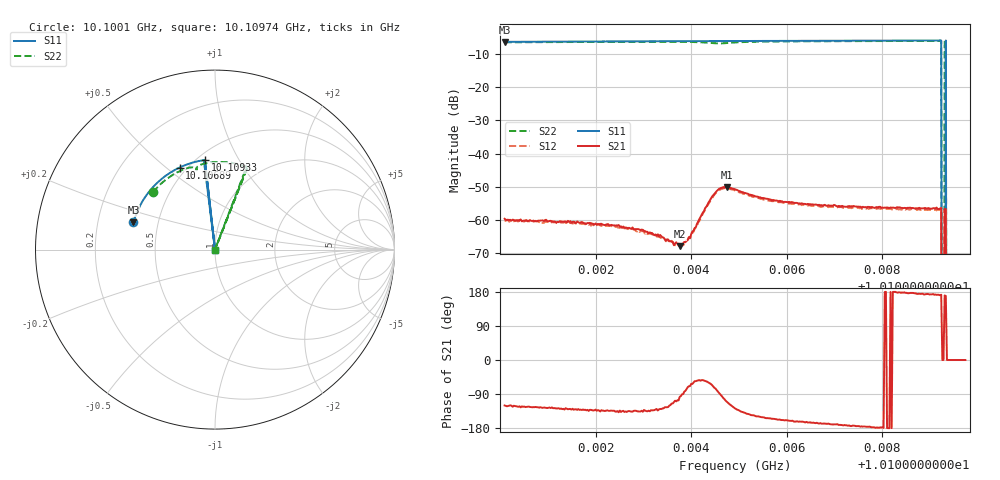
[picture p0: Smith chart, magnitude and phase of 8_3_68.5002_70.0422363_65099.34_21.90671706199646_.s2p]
#  HZ  S  RI  R  50.00
! Rohde & Schwarz Vector Network Analyzer
! Rohde-Schwarz,ZNB20-2Port,1311601062101988,3.16
! Created: UTC 3/20/2024, 5:04:04 PM
! freq[Hz]  re:S11  im:S11  re:S21  im:S21  re:S12  im:S12  re:S22  im:S22
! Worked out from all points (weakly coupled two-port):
!   401 points, 10.1001 GHz to 10.10974 GHz, reference 50 ohm
!   highest |S21| = -50.03 dB at 10.10475 GHz (marker M1); lowest = -67.9 dB at 10.10376 GHz (marker M2)
!   lowest |S11| = -6.4 dB at 10.1001 GHz (marker M3), VSWR 2.84, Z = 18 + j7.08 ohm
!   |S11| at or under -10 dB: 10.10923 GHz to 10.10933 GHz (95.37 kHz wide, 0.000943 % of centre); 10.10933 GHz to end of sweep
!   |S22| runs from - to -6.1 dB; largest |S21 - S12| = 0.00032
!   S11 on the Smith chart (normalised r, x): 10.1001 GHz: 0.36, +0.14; 10.10689 GHz: 0.46, +0.56; 10.10933 GHz: 0.55, +0.73; 10.10974 GHz: 1.00, +0.00
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1.0100099e10  -0.4542 0.1513  -0.000521 -0.000903  -0.000422 -0.000886  -0.3461 0.3201
1.0101713e10  -0.4187 0.2429  -0.000622 -0.000693  -0.000529 -0.000702  -0.2705 0.392
1.0103327e10  -0.3653 0.3249  -0.000367 -0.000434  -0.000317 -0.000461  -0.1783 0.4455
1.0103761e10  -0.3483 0.345  -5.16e-05 -0.0004  -4.16e-05 -0.000426  -0.149 0.4553
1.0104001e10  -0.3384 0.3557  0.000281 -0.000548  0.000318 -0.000513  -0.131 0.4585
1.0104483e10  -0.3173 0.376  0.000711 -0.00234  0.000915 -0.0022  -0.1003 0.4457
1.0104748e10  -0.3056 0.3867  -0.00111 -0.00295  -0.000826 -0.00289  -0.1056 0.4471
1.0104917e10  -0.2978 0.3933  -0.00177 -0.00229  -0.0015 -0.00236  -0.1015 0.4581
1.0105616e10  -0.264 0.4188  -0.00185 -0.000912  -0.00168 -0.00102  -0.0555 0.4805
1.0106531e10  -0.2168 0.4476  -0.00166 -0.000428  -0.00154 -0.000571  0.00562 0.4882
1.0106892e10  -0.1971 0.4574  -0.00161 -0.000319  -0.00152 -0.000426  0.0293 0.4885
1.0108145e10  -0.1265 0.4844  -0.00152 -1.29e-06  -0.00146 -0.000148  0.1096 0.4802
1.0109181e10  -0.0653 0.498  -0.00144 0.000205  -0.00142 8.12e-05  0.1734 0.4631
1.0109229e10  -0.0624 0.4985  -0.0015 0.000203  -0.00141 7.18e-05  0.1763 0.4621
1.0109253e10  0 0  0 0  0 0  0 0
1.0109278e10  0 0  0 0  0 0  0 0
1.0109302e10  0 0  -0.00145 0.000247  -0.00142 6.21e-05  0.1806 0.4605
1.0109326e10  -0.0566 0.4993  -0.00143 0.000276  -0.00142 9.31e-05  0.182 0.4601
1.010935e10  0 0  0 0  0 0  0 0
1.0109374e10  0 0  0 0  0 0  0 0
1.0109398e10  0 0  0 0  0 0  0 0
1.0109735e10  0 0  0 0  0 0  0 0
